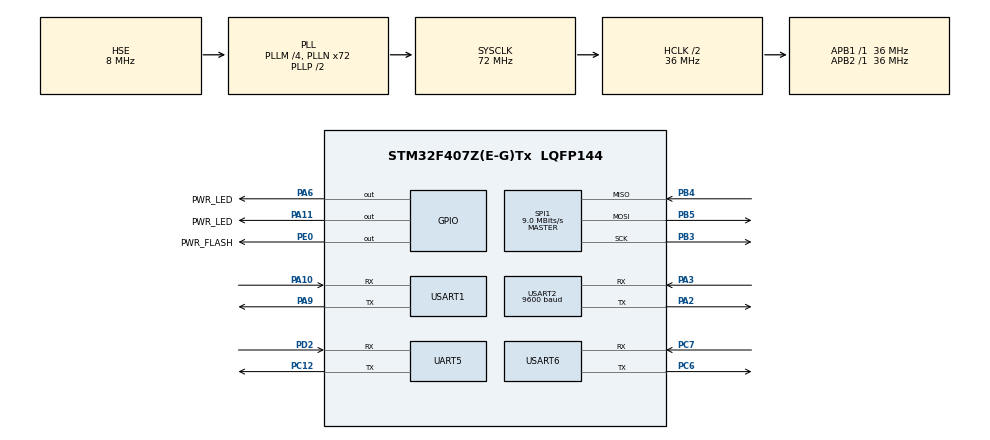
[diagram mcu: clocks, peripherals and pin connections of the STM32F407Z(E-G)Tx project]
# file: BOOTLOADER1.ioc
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Dma.Request0=USART2_RX
Dma.Request1=USART2_TX
Dma.Request2=USART1_RX
Dma.Request3=USART1_TX
Dma.USART1_RX.2.Direction=DMA_PERIPH_TO_MEMORY
Dma.USART1_RX.2.FIFOMode=DMA_FIFOMODE_DISABLE
Dma.USART1_RX.2.Instance=DMA2_Stream2
Dma.USART1_RX.2.MemDataAlignment=DMA_MDATAALIGN_BYTE
Dma.USART1_RX.2.MemInc=DMA_MINC_ENABLE
Dma.USART1_RX.2.Mode=DMA_NORMAL
Dma.USART1_RX.2.PeriphDataAlignment=DMA_PDATAALIGN_BYTE
Dma.USART1_RX.2.PeriphInc=DMA_PINC_DISABLE
Dma.USART1_RX.2.Priority=DMA_PRIORITY_LOW
Dma.USART1_TX.3.Direction=DMA_MEMORY_TO_PERIPH
Dma.USART1_TX.3.FIFOMode=DMA_FIFOMODE_DISABLE
Dma.USART1_TX.3.Instance=DMA2_Stream7
Dma.USART1_TX.3.MemDataAlignment=DMA_MDATAALIGN_BYTE
Dma.USART1_TX.3.MemInc=DMA_MINC_ENABLE
Dma.USART1_TX.3.Mode=DMA_NORMAL
Dma.USART1_TX.3.PeriphDataAlignment=DMA_PDATAALIGN_BYTE
Dma.USART1_TX.3.PeriphInc=DMA_PINC_DISABLE
Dma.USART1_TX.3.Priority=DMA_PRIORITY_LOW
Dma.USART2_RX.0.Direction=DMA_PERIPH_TO_MEMORY
Dma.USART2_RX.0.FIFOMode=DMA_FIFOMODE_DISABLE
Dma.USART2_RX.0.Instance=DMA1_Stream5
Dma.USART2_RX.0.MemDataAlignment=DMA_MDATAALIGN_BYTE
Dma.USART2_RX.0.MemInc=DMA_MINC_ENABLE
Dma.USART2_RX.0.Mode=DMA_NORMAL
Dma.USART2_RX.0.PeriphDataAlignment=DMA_PDATAALIGN_BYTE
Dma.USART2_RX.0.PeriphInc=DMA_PINC_DISABLE
Dma.USART2_RX.0.Priority=DMA_PRIORITY_LOW
Dma.USART2_TX.1.Direction=DMA_MEMORY_TO_PERIPH
Dma.USART2_TX.1.FIFOMode=DMA_FIFOMODE_DISABLE
Dma.USART2_TX.1.Instance=DMA1_Stream6
Dma.USART2_TX.1.MemDataAlignment=DMA_MDATAALIGN_BYTE
Dma.USART2_TX.1.MemInc=DMA_MINC_ENABLE
Dma.USART2_TX.1.Mode=DMA_NORMAL
Dma.USART2_TX.1.PeriphDataAlignment=DMA_PDATAALIGN_BYTE
Dma.USART2_TX.1.PeriphInc=DMA_PINC_DISABLE
Dma.USART2_TX.1.Priority=DMA_PRIORITY_LOW
IWDG.Prescaler=IWDG_PRESCALER_32
Mcu.Family=STM32F4
Mcu.Name=STM32F407Z(E-G)Tx
Mcu.Package=LQFP144
NVIC.DMA1_Stream5_IRQn=true\:0\:0\:false\:false\:true\:false\:true\:true
NVIC.DMA1_Stream6_IRQn=true\:0\:0\:false\:false\:true\:false\:true\:true
NVIC.DMA2_Stream2_IRQn=true\:0\:0\:false\:false\:true\:false\:true\:true
NVIC.DMA2_Stream7_IRQn=true\:0\:0\:false\:false\:true\:false\:true\:true
NVIC.PriorityGroup=NVIC_PRIORITYGROUP_4
NVIC.TIM4_IRQn=true\:0\:0\:false\:false\:true\:true\:true\:true
NVIC.TIM5_IRQn=true\:0\:0\:false\:false\:true\:true\:true\:true
NVIC.UART5_IRQn=true\:0\:0\:false\:false\:true\:true\:true\:true
NVIC.USART1_IRQn=true\:0\:0\:false\:false\:true\:true\:true\:true
NVIC.USART2_IRQn=true\:0\:0\:false\:false\:true\:true\:true\:true
NVIC.USART6_IRQn=true\:0\:0\:false\:false\:true\:true\:true\:true
PA0-WKUP.Mode=SYS_WakeUp0
PA0-WKUP.Signal=SYS_WKUP
PA10.Mode=Asynchronous
PA10.Signal=USART1_RX
PA11.GPIO_Label=PWR_LED
PA11.GPIO_PuPd=GPIO_PULLDOWN
PA11.Signal=GPIO_Output
PA13.Mode=Serial_Wire
PA13.Signal=SYS_JTMS-SWDIO
PA14.Mode=Serial_Wire
PA14.Signal=SYS_JTCK-SWCLK
PA2.Mode=Asynchronous
PA2.Signal=USART2_TX
PA3.Mode=Asynchronous
PA3.Signal=USART2_RX
PA6.GPIO_Label=PWR_LED
PA6.GPIO_PuPd=GPIO_PULLUP
PA6.Signal=GPIO_Output
PA9.Mode=Asynchronous
PA9.Signal=USART1_TX
PB3.Mode=Full_Duplex_Master
PB3.Signal=SPI1_SCK
PB4.Mode=Full_Duplex_Master
PB4.Signal=SPI1_MISO
PB5.Mode=Full_Duplex_Master
PB5.Signal=SPI1_MOSI
PC12.Mode=Asynchronous
PC12.Signal=UART5_TX
PC14-OSC32_IN.Mode=LSE-External-Oscillator
PC14-OSC32_IN.Signal=RCC_OSC32_IN
PC15-OSC32_OUT.Mode=LSE-External-Oscillator
PC15-OSC32_OUT.Signal=RCC_OSC32_OUT
PC6.Mode=Asynchronous
PC6.Signal=USART6_TX
PC7.Mode=Asynchronous
PC7.Signal=USART6_RX
PD2.Mode=Asynchronous
PD2.Signal=UART5_RX
PE0.GPIO_Label=PWR_FLASH
PE0.GPIO_PuPd=GPIO_PULLUP
PE0.Signal=GPIO_Output
PH0-OSC_IN.Mode=HSE-External-Oscillator
PH0-OSC_IN.Signal=RCC_OSC_IN
PH1-OSC_OUT.Mode=HSE-External-Oscillator
PH1-OSC_OUT.Signal=RCC_OSC_OUT
ProjectManager.HeapSize=0x2000
ProjectManager.StackSize=0x2000
ProjectManager.TargetToolchain=MDK-ARM V5.27
RCC.48MHZClocksFreq_Value=36000000
RCC.AHBCLKDivider=RCC_SYSCLK_DIV2
RCC.AHBFreq_Value=36000000
RCC.APB1Freq_Value=36000000
RCC.APB1TimFreq_Value=36000000
RCC.APB2Freq_Value=36000000
RCC.APB2TimFreq_Value=36000000
RCC.CortexFreq_Value=36000000
RCC.HCLKFreq_Value=36000000
RCC.HSE_VALUE=8000000
RCC.HSI_VALUE=16000000
RCC.PLLM=4
RCC.PLLN=72
RCC.PLLSourceVirtual=RCC_PLLSOURCE_HSE
RCC.RCC_RTC_Clock_Source=RCC_RTCCLKSOURCE_LSE
RCC.SYSCLKFreq_VALUE=72000000
RCC.SYSCLKSource=RCC_SYSCLKSOURCE_PLLCLK
RCC.VCOOutputFreq_Value=144000000
SPI1.BaudRatePrescaler=SPI_BAUDRATEPRESCALER_4
SPI1.CalculateBaudRate=9.0 MBits/s
SPI1.Direction=SPI_DIRECTION_2LINES
SPI1.Mode=SPI_MODE_MASTER
SPI1.VirtualType=VM_MASTER
TIM4.Period=100
TIM4.Prescaler=9000
TIM5.Period=100
TIM5.Prescaler=9000
UART5.VirtualMode=Asynchronous
USART1.VirtualMode=VM_ASYNC
USART2.BaudRate=9600
USART2.VirtualMode=VM_ASYNC
USART6.VirtualMode=VM_ASYNC
VP_IWDG_VS_IWDG.Mode=IWDG_Activate
VP_RTC_VS_RTC_Activate.Mode=RTC_Enabled
VP_RTC_VS_RTC_Calendar.Mode=RTC_Calendar
VP_RTC_VS_RTC_WakeUp_intern.Mode=WakeUp
VP_TIM4_VS_ClockSourceINT.Mode=Internal
VP_TIM5_VS_ClockSourceINT.Mode=Internal
board=custom

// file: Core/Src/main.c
/* USER CODE BEGIN Header */
/**
  ******************************************************************************
  * @file           : main.c
  * @brief          : Main program body
  ******************************************************************************
  * @attention
  *
  * Copyright (c) 2024 STMicroelectronics.
  * All rights reserved.
  *
  * This software is licensed under terms that can be found in the LICENSE file
  * in the root directory of this software component.
  * If no LICENSE file comes with this software, it is provided AS-IS.
  *
  ******************************************************************************
  */
/* USER CODE END Header */
#include "main.h"
#include "dma.h"
#include "iwdg.h"
#include "rtc.h"
#include "spi.h"
#include "tim.h"
#include "usart.h"
#include "gpio.h"

/* USER CODE BEGIN Includes */
#include "stdio.h"
#include "delay.h"
#include "w25qxx.h"
#include "spi.h"
#include "sys.h"
#include "flash.h"
#include "ota.h"
#include "NBiot.h"
//IAP相关
#include "menu.h"
#include "flash_if.h"
#include "ymodem.h"
#include "serialCOM.h"
/* USER CODE END Includes */

/* USER CODE BEGIN PM */
//存储阿里云-MQTT-OTA升级包信息
 struct aliyun MQTTaliyun;
/* USER CODE END PM */

void SystemClock_Config(void);

int main(void)
{

  /* MCU Configuration--------------------------------------------------------*/

  /* Reset of all peripherals, Initializes the Flash interface and the Systick. */
  HAL_Init();

  /* Configure the system clock */
  SystemClock_Config();

  /* Initialize all configured peripherals */
  MX_GPIO_Init();
  MX_DMA_Init();
  MX_RTC_Init();
  MX_USART1_UART_Init();
  MX_USART2_UART_Init();
  MX_SPI1_Init();
  W25QXX_Init();//W25Q128初始化
  MX_TIM4_Init();
  MX_TIM5_Init();
  MX_UART5_Init();
  MX_USART6_UART_Init();

  /* USER CODE BEGIN 2 */
    HAL_GPIO_WritePin(GPIOE, GPIO_PIN_0, GPIO_PIN_SET);
  	 int iwdg_flag=1;
	 W25QXX_Read((uint8_t*)&iwdg_flag, IWDG_ADDR, sizeof(int));
	 if(iwdg_flag!=0)
	  {
	  printf("bootloader开启看门狗\r\n");
//	  MX_IWDG_Init();
	  }
	  else
	   printf("bootloader关闭看门狗\r\n");
    __HAL_UART_ENABLE_IT(&huart1, UART_IT_IDLE); //使能IDLE中断
  	HAL_UART_Receive_DMA(&huart1,rx1_buffer,BUFFER_SIZE);  //开启DMA接收
	__HAL_UART_ENABLE_IT(&huart2, UART_IT_IDLE); //使能IDLE中断
  	HAL_UART_Receive_DMA(&huart2,rx2_buffer,BUFFER_SIZE);  //开启DMA接收
//	  iap_interface_close_all_interrupt();//关闭所有中断
//		iap_interface_load_app(ApplicationAddress);//APP程序跳转
	  BC260_OTA((char*)rx2_buffer,&MQTTaliyun);
//    iap_interface_close_all_interrupt();
//    printf("bootloader跳转APP\r\n");
//	iap_interface_load_app(ApplicationAddress);

//		Main_Menu ();//IAP功能函数

  /* USER CODE END 2 */

  /* Infinite loop */
  while (1)
  {
    if(rec1_end_flag)  //判断是否USART1接收到1帧数据
	{Usart1_Handle(); }	 //前往数据处理函数处理接收到的数据。
	if(rec2_end_flag)  //判断是否USART1接收到1帧数据
	{Usart2_Handle(); }	 //前往数据处理函数处理接收到的数据。
//	HAL_IWDG_Refresh(&hiwdg);
  }
}

void SystemClock_Config(void)
{
  RCC_OscInitTypeDef RCC_OscInitStruct = {0};
  RCC_ClkInitTypeDef RCC_ClkInitStruct = {0};

  /** Configure the main internal regulator output voltage
  */
  __HAL_RCC_PWR_CLK_ENABLE();
  __HAL_PWR_VOLTAGESCALING_CONFIG(PWR_REGULATOR_VOLTAGE_SCALE1);

  /** Initializes the RCC Oscillators according to the specified parameters
  * in the RCC_OscInitTypeDef structure.
  */
  RCC_OscInitStruct.OscillatorType = RCC_OSCILLATORTYPE_LSI|RCC_OSCILLATORTYPE_HSE
                              |RCC_OSCILLATORTYPE_LSE;
  RCC_OscInitStruct.HSEState = RCC_HSE_ON;
  RCC_OscInitStruct.LSEState = RCC_LSE_ON;
  RCC_OscInitStruct.LSIState = RCC_LSI_ON;
  RCC_OscInitStruct.PLL.PLLState = RCC_PLL_ON;
  RCC_OscInitStruct.PLL.PLLSource = RCC_PLLSOURCE_HSE;
  RCC_OscInitStruct.PLL.PLLM = 4;
  RCC_OscInitStruct.PLL.PLLN = 72;
  RCC_OscInitStruct.PLL.PLLP = RCC_PLLP_DIV2;
  RCC_OscInitStruct.PLL.PLLQ = 4;
  if (HAL_RCC_OscConfig(&RCC_OscInitStruct) != HAL_OK)
  {
    Error_Handler();
  }

  /** Initializes the CPU, AHB and APB buses clocks
  */
  RCC_ClkInitStruct.ClockType = RCC_CLOCKTYPE_HCLK|RCC_CLOCKTYPE_SYSCLK
                              |RCC_CLOCKTYPE_PCLK1|RCC_CLOCKTYPE_PCLK2;
  RCC_ClkInitStruct.SYSCLKSource = RCC_SYSCLKSOURCE_PLLCLK;
  RCC_ClkInitStruct.AHBCLKDivider = RCC_SYSCLK_DIV2;
  RCC_ClkInitStruct.APB1CLKDivider = RCC_HCLK_DIV1;
  RCC_ClkInitStruct.APB2CLKDivider = RCC_HCLK_DIV1;

  if (HAL_RCC_ClockConfig(&RCC_ClkInitStruct, FLASH_LATENCY_1) != HAL_OK)
  {
    Error_Handler();
  }
}

void Error_Handler(void)
{
  __disable_irq();
  while (1)
  {
  }
}
